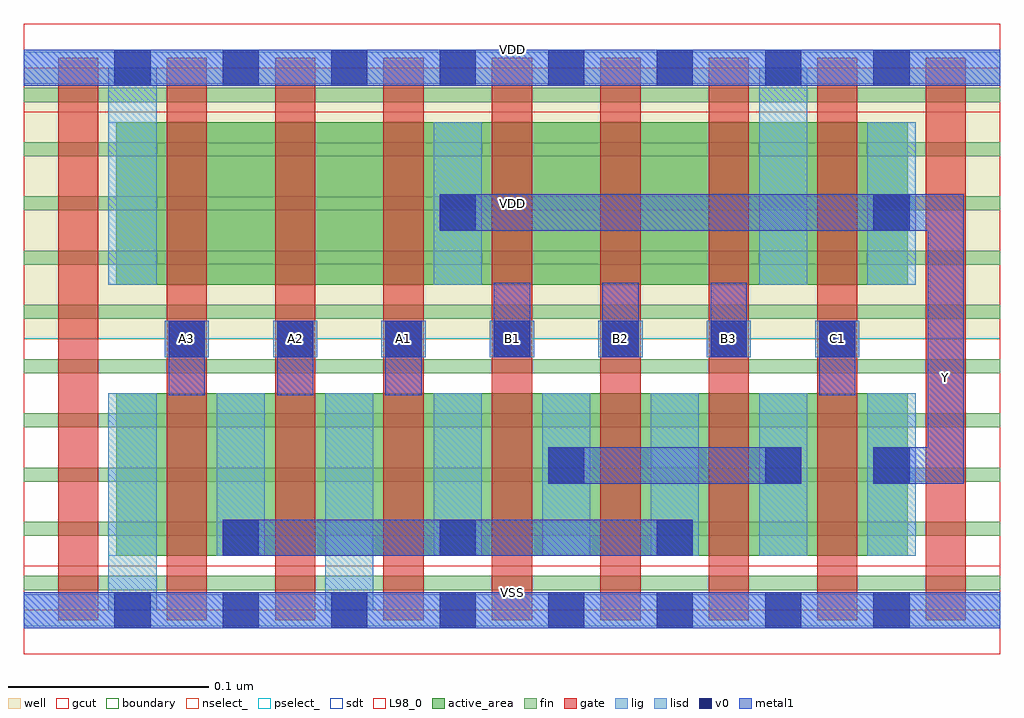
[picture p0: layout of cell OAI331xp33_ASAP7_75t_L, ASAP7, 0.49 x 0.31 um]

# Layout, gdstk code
import gdstk
lib = gdstk.Library(unit=1e-6, precision=2.5e-10)
def R(c, l, rs):  # rectangles x0, y0, x1, y1
    for r in rs: c.add(gdstk.rectangle(r[:2], r[2:], *l))
def A(c, l, x, y, w, h, nx, ny, dx, dy):  # array of equal rectangles
    R(c, l, [(x+i*dx, y+j*dy, x+i*dx+w, y+j*dy+h) for i in range(nx) for j in range(ny)])
def P(c, l, *ps):  # polygons
    for p in ps: c.add(gdstk.Polygon(p, *l))
well = (1, 0)
fin = (2, 0)
gate = (7, 0)
gcut = (10, 0)
active_area = (11, 0)
nselect_ = (12, 0)
pselect_ = (13, 0)
lig = (16, 0)
lisd = (17, 0)
v0 = (18, 0)
metal1 = (19, 0)
sdt = (88, 0)
L98_0 = (98, 0)
boundary = (100, 0)

oai331xp33_asap7_75t_l = lib.new_cell('OAI331xp33_ASAP7_75t_L')
R(oai331xp33_asap7_75t_l, well, [(0,0.135,0.486,0.27)])
A(oai331xp33_asap7_75t_l, fin, 0, 0.01, 0.486, 0.007, 1, 10, 0, 0.027)
A(oai331xp33_asap7_75t_l, gate, 0.017, -0.005, 0.02, 0.28, 9, 1, 0.054, 0)
R(oai331xp33_asap7_75t_l, gcut, [(0,-0.022,0.486,0.022), (0,0.248,0.486,0.292)])
R(oai331xp33_asap7_75t_l, active_area, [(0.046,0.027,0.44,0.108), (0.046,0.162,0.44,0.243)])
R(oai331xp33_asap7_75t_l, nselect_, [(0,0,0.486,0.135)])
R(oai331xp33_asap7_75t_l, pselect_, [(0,0.135,0.486,0.27)])
A(oai331xp33_asap7_75t_l, lig, 0.07, 0.126, 0.022, 0.018, 7, 1, 0.054, 0)
R(oai331xp33_asap7_75t_l, lig, [(0,-0.008,0.486,0.008), (0,0.262,0.486,0.278)])
A(oai331xp33_asap7_75t_l, lisd, 0.204, 0.027, 0.024, 0.081, 5, 1, 0.054, 0)
R(oai331xp33_asap7_75t_l, lisd, [(0.042,0,0.066,0.108), (0.042,0,0.066,0.108), (0.15,0,0.174,0.108), (0.15,0,0.174,0.108), (0.096,0.027,0.12,0.108), (0.042,0.162,0.066,0.27), (0.042,0.162,0.066,0.27), (0.204,0.162,0.228,0.243), (0.366,0.162,0.39,0.27), (0.366,0.162,0.39,0.27), (0.42,0.162,0.444,0.243)])
A(oai331xp33_asap7_75t_l, v0, 0.045, -0.009, 0.018, 0.018, 8, 2, 0.054, 0.27)
A(oai331xp33_asap7_75t_l, v0, 0.099, 0.027, 0.018, 0.018, 3, 1, 0.108, 0)
A(oai331xp33_asap7_75t_l, v0, 0.072, 0.126, 0.018, 0.018, 7, 1, 0.054, 0)
R(oai331xp33_asap7_75t_l, v0, [(0.261,0.063,0.279,0.081), (0.369,0.063,0.387,0.081), (0.423,0.063,0.441,0.081), (0.207,0.189,0.225,0.207), (0.423,0.189,0.441,0.207)])
A(oai331xp33_asap7_75t_l, metal1, 0.099, 0.027, 0.018, 0.018, 3, 1, 0.108, 0)
A(oai331xp33_asap7_75t_l, metal1, 0.072, 0.107, 0.018, 0.037, 3, 1, 0.054, 0)
A(oai331xp33_asap7_75t_l, metal1, 0.072, 0.126, 0.018, 0.018, 7, 1, 0.054, 0)
A(oai331xp33_asap7_75t_l, metal1, 0.234, 0.126, 0.018, 0.037, 3, 1, 0.054, 0)
R(oai331xp33_asap7_75t_l, metal1, [(0,-0.009,0.486,0.009), (0.099,0.027,0.333,0.045), (0.261,0.063,0.279,0.081), (0.261,0.063,0.387,0.081), (0.369,0.063,0.387,0.081), (0.423,0.063,0.441,0.081), (0.396,0.107,0.414,0.144), (0.207,0.189,0.225,0.207), (0.423,0.189,0.441,0.207), (0,0.261,0.486,0.279)])
P(oai331xp33_asap7_75t_l, metal1, [(0.207,0.207),(0.207,0.189),(0.45,0.189),(0.45,0.081),(0.423,0.081),(0.423,0.063),(0.468,0.063),(0.468,0.207)])
A(oai331xp33_asap7_75t_l, sdt, 0.042, 0.027, 0.024, 0.081, 3, 1, 0.054, 0)
A(oai331xp33_asap7_75t_l, sdt, 0.15, 0.027, 0.024, 0.081, 6, 1, 0.054, 0)
A(oai331xp33_asap7_75t_l, sdt, 0.042, 0.162, 0.024, 0.081, 3, 1, 0.162, 0)
R(oai331xp33_asap7_75t_l, sdt, [(0.042,0.027,0.066,0.108), (0.042,0.162,0.066,0.243), (0.366,0.162,0.39,0.243), (0.42,0.162,0.444,0.243)])
R(oai331xp33_asap7_75t_l, L98_0, [(0,0,0.486,0.27)])
R(oai331xp33_asap7_75t_l, boundary, [(0,0,0.486,0.27)])
oai331xp33_asap7_75t_l.add(gdstk.Label('VDD', (0.243,0.2025), layer=1, texttype=251))
oai331xp33_asap7_75t_l.add(gdstk.Label('VSS', (0.243,-0.0675), layer=3, texttype=251))
oai331xp33_asap7_75t_l.add(gdstk.Label('VSS', (0.243,0.009), layer=19, texttype=251))
oai331xp33_asap7_75t_l.add(gdstk.Label('VDD', (0.243,0.279), layer=19, texttype=251))
oai331xp33_asap7_75t_l.add(gdstk.Label('A3', (0.081,0.135), layer=19, texttype=251))
oai331xp33_asap7_75t_l.add(gdstk.Label('A2', (0.135,0.135), layer=19, texttype=251))
oai331xp33_asap7_75t_l.add(gdstk.Label('A1', (0.189,0.135), layer=19, texttype=251))
oai331xp33_asap7_75t_l.add(gdstk.Label('Y', (0.459,0.116), layer=19, texttype=251))
oai331xp33_asap7_75t_l.add(gdstk.Label('B1', (0.243,0.135), layer=19, texttype=251))
oai331xp33_asap7_75t_l.add(gdstk.Label('B2', (0.297,0.135), layer=19, texttype=251))
oai331xp33_asap7_75t_l.add(gdstk.Label('B3', (0.351,0.135), layer=19, texttype=251))
oai331xp33_asap7_75t_l.add(gdstk.Label('C1', (0.405,0.135), layer=19, texttype=251))

lib.write_gds('OAI331xp33_ASAP7_75t_L.gds')
